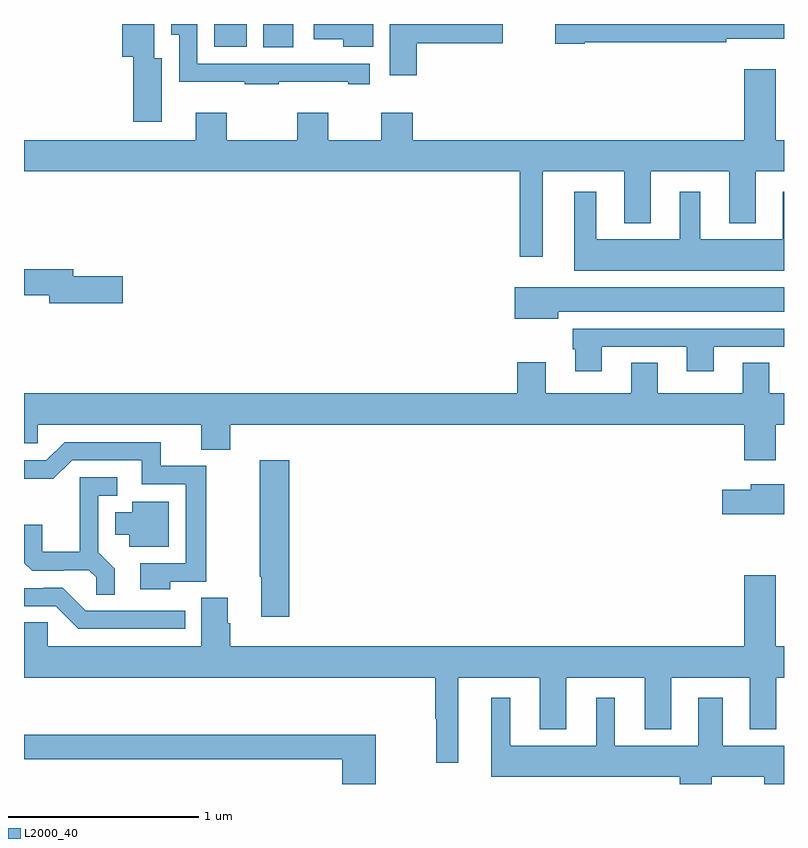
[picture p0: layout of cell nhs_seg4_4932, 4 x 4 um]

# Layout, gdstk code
import gdstk
lib = gdstk.Library(unit=1e-6, precision=1e-09)
def R(c, l, rs):  # rectangles x0, y0, x1, y1
    for r in rs: c.add(gdstk.rectangle(r[:2], r[2:], *l))
def P(c, l, *ps):  # polygons
    for p in ps: c.add(gdstk.Polygon(p, *l))
L2000_40 = (2000, 40)

nhs_seg4_4932 = lib.new_cell('nhs_seg4_4932')
R(nhs_seg4_4932, L2000_40, [(378.26,826.777,378.418,826.9), (378.002,826.781,378.172,826.9)])
P(nhs_seg4_4932, L2000_40, [(377.725,826.72),(377.686,826.72),(377.686,826.9),(377.516,826.9),(377.516,826.727),(377.576,826.727),(377.576,826.386),(377.725,826.386)],
  [(378.341,826.595),(378.707,826.595),(378.707,826.584),(378.82,826.584),(378.82,826.692),(377.913,826.692),(377.913,826.9),(377.774,826.9),(377.774,826.844),(377.817,826.844),(377.817,826.595),(378.163,826.595),(378.163,826.584),(378.341,826.584)],
  [(378.838,826.9),(378.525,826.9),(378.525,826.82),(378.68,826.82),(378.68,826.781),(378.838,826.781)],
  [(379.067,826.799),(379.519,826.799),(379.519,826.9),(378.926,826.9),(378.926,826.629),(379.067,826.629)],
  [(379.95,826.804),(380.696,826.804),(380.696,826.823),(381,826.823),(381,826.9),(379.796,826.9),(379.796,826.796),(379.95,826.796)],
  [(379.729,826.124),(380.159,826.124),(380.159,825.851),(380.299,825.851),(380.299,826.124),(380.711,826.124),(380.711,825.851),(380.851,825.851),(380.851,826.124),(381,826.124),(381,826.288),(380.956,826.288),(380.956,826.663),(380.792,826.663),(380.792,826.288),(379.045,826.288),(379.045,826.432),(378.881,826.432),(378.881,826.288),(378.601,826.288),(378.601,826.432),(378.437,826.432),(378.437,826.288),(378.067,826.288),(378.067,826.432),(377.903,826.432),(377.903,826.288),(377,826.288),(377,826.124),(379.608,826.124),(379.608,825.675),(379.729,825.675)],
  [(381,826.018),(380.993,826.018),(380.993,825.766),(380.56,825.766),(380.56,826.018),(380.45,826.018),(380.45,825.766),(380.011,825.766),(380.011,826.018),(379.895,826.018),(379.895,825.602),(381,825.602)],
  [(377.521,825.572),(377.26,825.572),(377.26,825.608),(377,825.608),(377,825.472),(377.132,825.472),(377.132,825.43),(377.521,825.43)],
  [(379.813,825.386),(381,825.386),(381,825.514),(379.584,825.514),(379.584,825.35),(379.813,825.35)],
  [(380.041,825.201),(380.489,825.201),(380.489,825.072),(380.629,825.072),(380.629,825.201),(381,825.201),(381,825.297),(379.889,825.297),(379.889,825.189),(379.901,825.189),(379.901,825.072),(380.041,825.072)],
  [(380.956,824.792),(381,824.792),(381,824.956),(380.923,824.956),(380.923,825.116),(380.783,825.116),(380.783,824.956),(380.335,824.956),(380.335,825.116),(380.195,825.116),(380.195,824.956),(379.747,824.956),(379.747,825.121),(379.595,825.121),(379.595,824.956),(377,824.956),(377,824.694),(377.073,824.694),(377.073,824.792),(377.933,824.792),(377.933,824.659),(378.086,824.659),(378.086,824.792),(380.792,824.792),(380.792,824.604),(380.956,824.604)],
  [(377.769,823.965),(377.959,823.965),(377.959,824.574),(377.72,824.574),(377.72,824.7),(377.214,824.7),(377.118,824.604),(377,824.604),(377,824.506),(377.155,824.506),(377.253,824.604),(377.621,824.604),(377.621,824.478),(377.85,824.478),(377.85,824.061),(377.613,824.061),(377.613,823.925),(377.769,823.925)],
  [(378.395,824.605),(378.241,824.605),(378.241,823.991),(378.248,823.991),(378.248,823.779),(378.395,823.779)],
  [(377.477,824.033),(377.391,824.119),(377.391,824.418),(377.491,824.418),(377.491,824.514),(377.294,824.514),(377.294,824.122),(377.096,824.122),(377.096,824.265),(377.002,824.265),(377.002,824.063),(377.043,824.022),(377.208,824.022),(377.208,824.025),(377.342,824.025),(377.379,823.988),(377.379,823.897),(377.477,823.897)],
  [(381,824.478),(380.825,824.478),(380.825,824.449),(380.676,824.449),(380.676,824.32),(381,824.32)],
  [(377.761,824.386),(377.57,824.386),(377.57,824.329),(377.48,824.329),(377.48,824.213),(377.555,824.213),(377.555,824.15),(377.761,824.15)],
  [(379.285,823.46),(379.715,823.46),(379.715,823.187),(379.855,823.187),(379.855,823.46),(380.267,823.46),(380.267,823.187),(380.407,823.187),(380.407,823.46),(380.819,823.46),(380.819,823.187),(380.959,823.187),(380.959,823.46),(381,823.46),(381,823.624),(380.956,823.624),(380.956,823.999),(380.792,823.999),(380.792,823.624),(378.086,823.624),(378.086,823.746),(378.073,823.746),(378.073,823.88),(377.933,823.88),(377.933,823.624),(377.124,823.624),(377.124,823.751),(377,823.751),(377,823.46),(379.164,823.46),(379.164,823.244),(379.171,823.244),(379.171,823.011),(379.285,823.011)],
  [(377.848,823.812),(377.325,823.812),(377.205,823.932),(377.104,823.932),(377.104,823.929),(377,823.929),(377,823.836),(377.166,823.836),(377.286,823.716),(377.848,823.716)],
  [(380.62,822.938),(380.897,822.938),(380.897,822.9),(381,822.9),(381,823.102),(380.677,823.102),(380.677,823.354),(380.549,823.354),(380.549,823.102),(380.11,823.102),(380.11,823.354),(380.012,823.354),(380.012,823.102),(379.558,823.102),(379.558,823.354),(379.46,823.354),(379.46,822.938),(380.45,822.938),(380.45,822.9),(380.62,822.9)],
  [(378.852,823.159),(377,823.159),(377,823.03),(378.674,823.03),(378.674,822.9),(378.852,822.9)])

lib.write_gds('nhs_seg4_4932.gds')
